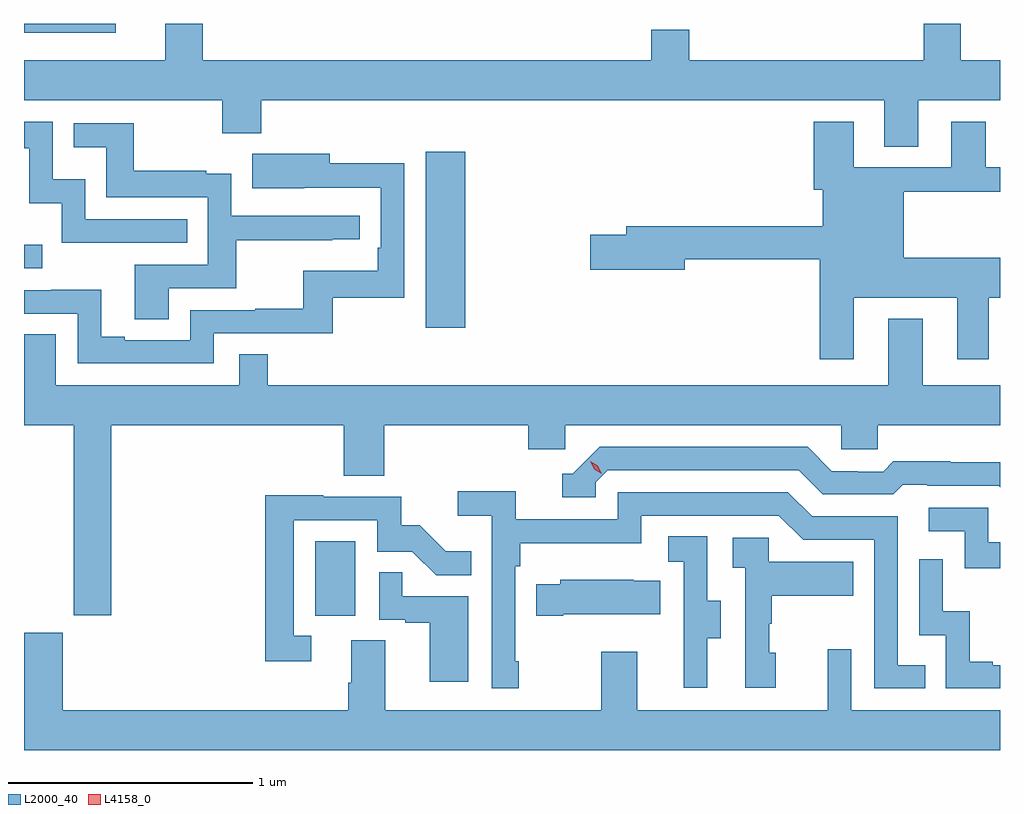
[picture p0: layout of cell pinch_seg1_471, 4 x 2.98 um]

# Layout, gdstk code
import gdstk
lib = gdstk.Library(unit=1e-6, precision=1e-09)
def R(c, l, rs):  # rectangles x0, y0, x1, y1
    for r in rs: c.add(gdstk.rectangle(r[:2], r[2:], *l))
def P(c, l, *ps):  # polygons
    for p in ps: c.add(gdstk.Polygon(p, *l))
L2000_40 = (2000, 40)
L4158_0 = (4158, 0)

pinch_seg1_471 = lib.new_cell('pinch_seg1_471')
R(pinch_seg1_471, L2000_40, [(1106.156,537.63,1106.32,537.937), (1106.609,538.812,1106.77,539.533), (1104.962,539.055,1105.036,539.152), (1104.962,540.02,1105.339,540.057)])
P(pinch_seg1_471, L2000_40, [(1108.627,539.744),(1108.962,539.744),(1108.962,539.908),(1108.802,539.908),(1108.802,540.057),(1108.649,540.057),(1108.649,539.908),(1107.689,539.908),(1107.689,540.032),(1107.533,540.032),(1107.533,539.908),(1105.694,539.908),(1105.694,540.057),(1105.541,540.057),(1105.541,539.908),(1104.962,539.908),(1104.962,539.744),(1105.774,539.744),(1105.774,539.609),(1105.934,539.609),(1105.934,539.744),(1108.487,539.744),(1108.487,539.554),(1108.627,539.554)],
  [(1108.363,538.934),(1108.787,538.934),(1108.787,538.683),(1108.915,538.683),(1108.915,538.934),(1108.962,538.934),(1108.962,539.098),(1108.567,539.098),(1108.567,539.368),(1108.962,539.368),(1108.962,539.469),(1108.903,539.469),(1108.903,539.656),(1108.763,539.656),(1108.763,539.469),(1108.363,539.469),(1108.363,539.656),(1108.199,539.656),(1108.199,539.376),(1108.235,539.376),(1108.235,539.228),(1107.431,539.228),(1107.431,539.192),(1107.282,539.192),(1107.282,539.05),(1107.67,539.05),(1107.67,539.092),(1108.223,539.092),(1108.223,538.683),(1108.363,538.683)],
  [(1105.631,539.256),(1105.212,539.256),(1105.212,539.419),(1105.08,539.419),(1105.08,539.655),(1104.962,539.655),(1104.962,539.547),(1104.983,539.547),(1104.983,539.321),(1105.116,539.321),(1105.116,539.16),(1105.631,539.16)],
  [(1105.555,538.974),(1105.832,538.974),(1105.832,539.17),(1106.225,539.17),(1106.225,539.175),(1106.338,539.175),(1106.338,539.271),(1105.812,539.271),(1105.812,539.443),(1105.709,539.443),(1105.709,539.455),(1105.411,539.455),(1105.411,539.649),(1105.165,539.649),(1105.165,539.552),(1105.3,539.552),(1105.3,539.346),(1105.716,539.346),(1105.716,539.07),(1105.415,539.07),(1105.415,538.846),(1105.555,538.846)],
  [(1105.74,538.788),(1106.227,538.788),(1106.227,538.935),(1106.52,538.935),(1106.52,539.486),(1106.215,539.486),(1106.215,539.524),(1105.897,539.524),(1105.897,539.384),(1106.111,539.384),(1106.111,539.385),(1106.424,539.385),(1106.424,539.14),(1106.411,539.14),(1106.411,539.044),(1106.106,539.044),(1106.106,538.889),(1105.909,538.889),(1105.909,538.884),(1105.644,538.884),(1105.644,538.761),(1105.375,538.761),(1105.375,538.774),(1105.279,538.774),(1105.279,538.967),(1105.074,538.967),(1105.074,538.965),(1104.962,538.965),(1104.962,538.869),(1105.182,538.869),(1105.182,538.665),(1105.74,538.665)],
  [(1105.319,538.412),(1106.273,538.412),(1106.273,538.204),(1106.438,538.204),(1106.438,538.412),(1107.029,538.412),(1107.029,538.314),(1107.18,538.314),(1107.18,538.412),(1108.311,538.412),(1108.311,538.314),(1108.461,538.314),(1108.461,538.412),(1108.962,538.412),(1108.962,538.576),(1108.645,538.576),(1108.645,538.849),(1108.505,538.849),(1108.505,538.576),(1105.961,538.576),(1105.961,538.703),(1105.845,538.703),(1105.845,538.576),(1105.093,538.576),(1105.093,538.784),(1104.962,538.784),(1104.962,538.412),(1105.166,538.412),(1105.166,537.633),(1105.319,537.633)],
  [(1107.306,538.179),(1107.354,538.227),(1108.137,538.227),(1108.236,538.128),(1108.525,538.128),(1108.564,538.167),(1108.663,538.167),(1108.663,538.164),(1108.956,538.164),(1108.962,538.158),(1108.962,538.261),(1108.758,538.261),(1108.758,538.264),(1108.525,538.264),(1108.483,538.221),(1108.38,538.221),(1108.38,538.224),(1108.273,538.224),(1108.174,538.323),(1107.321,538.323),(1107.21,538.212),(1107.167,538.212),(1107.167,538.116),(1107.306,538.116)],
  [(1106.989,537.445),(1106.976,537.445),(1106.976,537.833),(1106.996,537.833),(1106.996,537.929),(1107.492,537.929),(1107.492,538.041),(1108.056,538.041),(1108.155,537.942),(1108.446,537.942),(1108.446,537.333),(1108.655,537.333),(1108.655,537.429),(1108.542,537.429),(1108.542,538.038),(1108.192,538.038),(1108.093,538.137),(1107.396,538.137),(1107.396,538.026),(1106.978,538.026),(1106.978,538.142),(1106.739,538.142),(1106.739,538.04),(1106.88,538.04),(1106.88,537.333),(1106.989,537.333)],
  [(1106.14,537.549),(1106.067,537.549),(1106.067,538.023),(1106.409,538.023),(1106.409,537.894),(1106.553,537.894),(1106.651,537.796),(1106.795,537.796),(1106.795,537.895),(1106.691,537.895),(1106.584,538.002),(1106.508,538.002),(1106.508,538.119),(1106.189,538.119),(1106.189,538.124),(1105.951,538.124),(1105.951,537.444),(1106.14,537.444)],
  [(1108.962,537.933),(1108.914,537.933),(1108.914,538.074),(1108.671,538.074),(1108.671,537.978),(1108.818,537.978),(1108.818,537.825),(1108.962,537.825)],
  [(1107.763,537.538),(1107.817,537.538),(1107.817,537.693),(1107.762,537.693),(1107.762,537.956),(1107.603,537.956),(1107.603,537.853),(1107.666,537.853),(1107.666,537.549),(1107.665,537.549),(1107.665,537.336),(1107.763,537.336)],
  [(1108.042,537.48),(1108.017,537.48),(1108.017,537.599),(1108.027,537.599),(1108.027,537.713),(1108.361,537.713),(1108.361,537.853),(1108.014,537.853),(1108.014,537.951),(1107.867,537.951),(1107.867,537.827),(1107.918,537.827),(1107.918,537.336),(1108.042,537.336)],
  [(1108.962,537.429),(1108.933,537.429),(1108.933,537.442),(1108.838,537.442),(1108.838,537.65),(1108.728,537.65),(1108.728,537.862),(1108.632,537.862),(1108.632,537.552),(1108.74,537.552),(1108.74,537.333),(1108.962,537.333)],
  [(1106.782,537.711),(1106.513,537.711),(1106.513,537.809),(1106.418,537.809),(1106.418,537.615),(1106.525,537.615),(1106.525,537.603),(1106.624,537.603),(1106.624,537.36),(1106.782,537.36)],
  [(1107.172,537.638),(1107.569,537.638),(1107.569,537.775),(1107.461,537.775),(1107.461,537.778),(1107.159,537.778),(1107.159,537.76),(1107.061,537.76),(1107.061,537.631),(1107.172,537.631)],
  [(1108.962,537.244),(1108.353,537.244),(1108.353,537.493),(1108.256,537.493),(1108.256,537.244),(1107.475,537.244),(1107.475,537.484),(1107.328,537.484),(1107.328,537.244),(1106.443,537.244),(1106.443,537.53),(1106.303,537.53),(1106.303,537.356),(1106.291,537.356),(1106.291,537.244),(1105.12,537.244),(1105.12,537.561),(1104.962,537.561),(1104.962,537.08),(1108.962,537.08)])
P(pinch_seg1_471, L4158_0, [(1107.33,538.213),(1107.299,538.232),(1107.283,538.265),(1107.283,538.265),(1107.283,538.265),(1107.314,538.246),(1107.33,538.213),(1107.33,538.213)])

lib.write_gds('pinch_seg1_471.gds')
